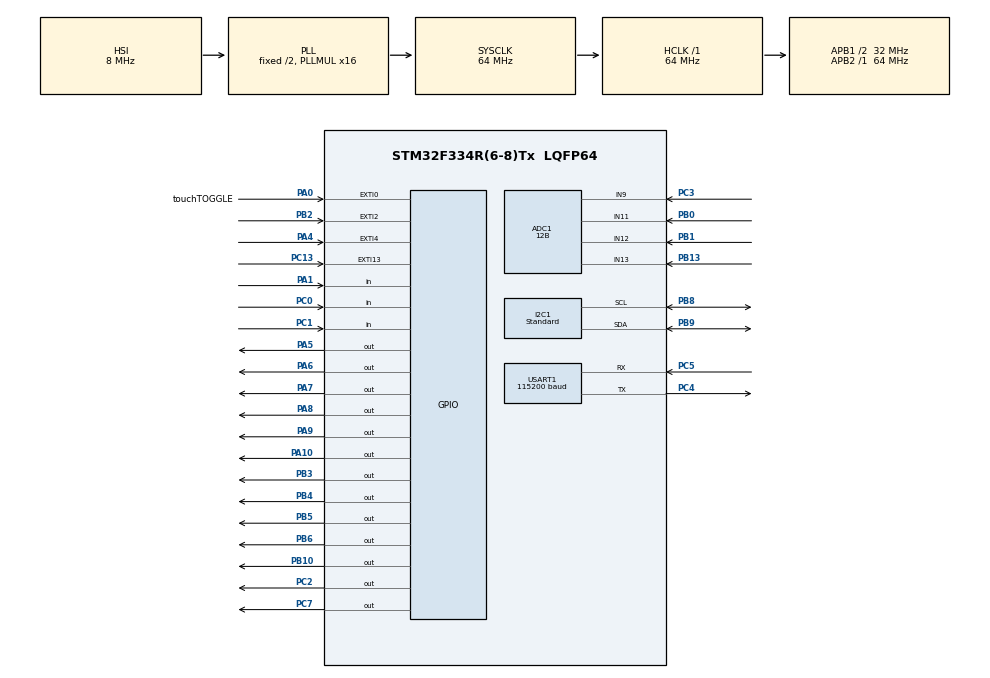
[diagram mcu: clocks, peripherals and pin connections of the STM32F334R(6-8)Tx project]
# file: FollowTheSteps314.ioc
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ADC1.Channel-40\#ChannelRegularConversion=ADC_CHANNEL_13
ADC1.Channel-41\#ChannelRegularConversion=ADC_CHANNEL_12
ADC1.Channel-42\#ChannelRegularConversion=ADC_CHANNEL_9
ADC1.Channel-44\#ChannelRegularConversion=ADC_CHANNEL_11
ADC1.ClockPrescaler=ADC_CLOCK_ASYNC_DIV1
ADC1.ContinuousConvMode=DISABLE
ADC1.DMAContinuousRequests=DISABLE
ADC1.DataAlign=ADC_DATAALIGN_RIGHT
ADC1.DiscontinuousConvMode=DISABLE
ADC1.EOCSelection=ADC_EOC_SINGLE_CONV
ADC1.EnableAnalogWatchDog1=false
ADC1.EnableAnalogWatchDog2=false
ADC1.EnableAnalogWatchDog3=false
ADC1.EnableInjectedConversion=ENABLE
ADC1.EnableRegularConversion=ENABLE
ADC1.ExternalTrigConv=ADC_SOFTWARE_START
ADC1.ExternalTrigConvEdge=ADC_EXTERNALTRIGCONVEDGE_NONE
ADC1.InjNumberOfConversion=0
ADC1.LowPowerAutoWait=DISABLE
ADC1.NbrOfConversion=4
ADC1.NbrOfConversionFlag=1
ADC1.Offset-40\#ChannelRegularConversion=0
ADC1.Offset-41\#ChannelRegularConversion=0
ADC1.Offset-42\#ChannelRegularConversion=0
ADC1.Offset-44\#ChannelRegularConversion=0
ADC1.OffsetNumber-40\#ChannelRegularConversion=ADC_OFFSET_NONE
ADC1.OffsetNumber-41\#ChannelRegularConversion=ADC_OFFSET_NONE
ADC1.OffsetNumber-42\#ChannelRegularConversion=ADC_OFFSET_NONE
ADC1.OffsetNumber-44\#ChannelRegularConversion=ADC_OFFSET_NONE
ADC1.Overrun=ADC_OVR_DATA_OVERWRITTEN
ADC1.Rank-40\#ChannelRegularConversion=1
ADC1.Rank-41\#ChannelRegularConversion=2
ADC1.Rank-42\#ChannelRegularConversion=3
ADC1.Rank-44\#ChannelRegularConversion=4
ADC1.Resolution=ADC_RESOLUTION_12B
ADC1.SamplingTime-40\#ChannelRegularConversion=ADC_SAMPLETIME_61CYCLES_5
ADC1.SamplingTime-41\#ChannelRegularConversion=ADC_SAMPLETIME_61CYCLES_5
ADC1.SamplingTime-42\#ChannelRegularConversion=ADC_SAMPLETIME_61CYCLES_5
ADC1.SamplingTime-44\#ChannelRegularConversion=ADC_SAMPLETIME_61CYCLES_5
ADC1.ScanConvMode=ADC_SCAN_ENABLE
ADC1.SubFamily=STM32F334x8
ADC1.master=1
Dma.ADC1.0.Direction=DMA_PERIPH_TO_MEMORY
Dma.ADC1.0.Instance=DMA1_Channel1
Dma.ADC1.0.MemDataAlignment=DMA_MDATAALIGN_HALFWORD
Dma.ADC1.0.MemInc=DMA_MINC_ENABLE
Dma.ADC1.0.Mode=DMA_CIRCULAR
Dma.ADC1.0.PeriphDataAlignment=DMA_PDATAALIGN_HALFWORD
Dma.ADC1.0.PeriphInc=DMA_PINC_DISABLE
Dma.ADC1.0.Priority=DMA_PRIORITY_MEDIUM
Dma.Request0=ADC1
I2C1.I2C_Speed_Mode=I2C_Standard
Mcu.Family=STM32F3
Mcu.Name=STM32F334R(6-8)Tx
Mcu.Package=LQFP64
NVIC.DMA1_Channel1_IRQn=true\:0\:0\:false\:false\:true\:false
NVIC.EXTI0_IRQn=true\:0\:0\:false\:false\:true\:true
NVIC.EXTI15_10_IRQn=true\:0\:0\:false\:false\:true\:true
NVIC.EXTI2_TSC_IRQn=true\:0\:0\:false\:false\:true\:true
NVIC.EXTI4_IRQn=true\:0\:0\:false\:false\:true\:true
NVIC.PriorityGroup=NVIC_PRIORITYGROUP_0
NVIC.TIM2_IRQn=true\:0\:0\:false\:false\:true\:true
NVIC.USART1_IRQn=true\:0\:0\:false\:false\:true\:true
PA0.GPIO_Label=touchTOGGLE
PA0.GPIO_ModeDefaultEXTI=GPIO_MODE_IT_FALLING
PA0.Signal=GPXTI0
PA1.GPIO_PuPd=GPIO_PULLUP
PA1.Signal=GPIO_Input
PA10.Signal=GPIO_Output
PA13.Signal=SYS_JTMS-SWDIO
PA14.Signal=SYS_JTCK-SWCLK
PA4.GPIO_ModeDefaultEXTI=GPIO_MODE_IT_FALLING
PA4.Signal=GPXTI4
PA5.GPIO_ModeDefaultOutputPP=GPIO_MODE_OUTPUT_PP
PA5.GPIO_PuPd=GPIO_NOPULL
PA5.GPIO_Speed=GPIO_SPEED_FREQ_LOW
PA5.PinState=GPIO_PIN_RESET
PA5.Signal=GPIO_Output
PA6.GPIO_ModeDefaultOutputPP=GPIO_MODE_OUTPUT_PP
PA6.GPIO_PuPd=GPIO_NOPULL
PA6.GPIO_Speed=GPIO_SPEED_FREQ_LOW
PA6.PinState=GPIO_PIN_RESET
PA6.Signal=GPIO_Output
PA7.GPIO_ModeDefaultOutputPP=GPIO_MODE_OUTPUT_PP
PA7.GPIO_PuPd=GPIO_NOPULL
PA7.GPIO_Speed=GPIO_SPEED_FREQ_LOW
PA7.PinState=GPIO_PIN_RESET
PA7.Signal=GPIO_Output
PA8.GPIO_ModeDefaultOutputPP=GPIO_MODE_OUTPUT_PP
PA8.GPIO_PuPd=GPIO_NOPULL
PA8.GPIO_Speed=GPIO_SPEED_FREQ_LOW
PA8.PinState=GPIO_PIN_RESET
PA8.Signal=GPIO_Output
PA9.GPIO_ModeDefaultOutputPP=GPIO_MODE_OUTPUT_PP
PA9.GPIO_PuPd=GPIO_NOPULL
PA9.GPIO_Speed=GPIO_SPEED_FREQ_LOW
PA9.PinState=GPIO_PIN_RESET
PA9.Signal=GPIO_Output
PB0.Mode=IN11-Single-Ended
PB0.Signal=ADC1_IN11
PB1.Mode=IN12-Single-Ended
PB1.Signal=ADC1_IN12
PB10.GPIO_ModeDefaultOutputPP=GPIO_MODE_OUTPUT_PP
PB10.GPIO_PuPd=GPIO_NOPULL
PB10.GPIO_Speed=GPIO_SPEED_FREQ_LOW
PB10.PinState=GPIO_PIN_RESET
PB10.Signal=GPIO_Output
PB13.Mode=IN13-Single-Ended
PB13.Signal=ADC1_IN13
PB2.GPIO_ModeDefaultEXTI=GPIO_MODE_IT_RISING
PB2.GPIO_PuPd=GPIO_NOPULL
PB2.Signal=GPXTI2
PB3.GPIO_ModeDefaultOutputPP=GPIO_MODE_OUTPUT_PP
PB3.GPIO_PuPd=GPIO_NOPULL
PB3.GPIO_Speed=GPIO_SPEED_FREQ_LOW
PB3.PinState=GPIO_PIN_RESET
PB3.Signal=GPIO_Output
PB4.GPIO_ModeDefaultOutputPP=GPIO_MODE_OUTPUT_PP
PB4.GPIO_PuPd=GPIO_NOPULL
PB4.GPIO_Speed=GPIO_SPEED_FREQ_LOW
PB4.PinState=GPIO_PIN_RESET
PB4.Signal=GPIO_Output
PB5.GPIO_ModeDefaultOutputPP=GPIO_MODE_OUTPUT_PP
PB5.GPIO_PuPd=GPIO_NOPULL
PB5.GPIO_Speed=GPIO_SPEED_FREQ_LOW
PB5.PinState=GPIO_PIN_RESET
PB5.Signal=GPIO_Output
PB6.GPIO_FM6=__NULL
PB6.GPIO_ModeDefaultOutputPP=GPIO_MODE_OUTPUT_PP
PB6.GPIO_PuPd=GPIO_NOPULL
PB6.GPIO_Speed=GPIO_SPEED_FREQ_LOW
PB6.PinState=GPIO_PIN_RESET
PB6.Signal=GPIO_Output
PB8.Mode=I2C
PB8.Signal=I2C1_SCL
PB9.Mode=I2C
PB9.Signal=I2C1_SDA
PC0.GPIO_Mode=GPIO_MODE_INPUT
PC0.GPIO_PuPd=GPIO_NOPULL
PC0.Signal=GPIO_Input
PC1.GPIO_Mode=GPIO_MODE_INPUT
PC1.GPIO_PuPd=GPIO_NOPULL
PC1.Signal=GPIO_Input
PC13.GPIO_ModeDefaultEXTI=GPIO_MODE_IT_RISING
PC13.GPIO_PuPd=GPIO_NOPULL
PC13.Signal=GPXTI13
PC14\ /\ OSC32_IN.Signal=RCC_OSC32_IN
PC15\ /\ OSC32_OUT.Signal=RCC_OSC32_OUT
PC2.Signal=GPIO_Output
PC3.Signal=ADCx_IN9
PC4.Mode=Asynchronous
PC4.Signal=USART1_TX
PC5.Mode=Asynchronous
PC5.Signal=USART1_RX
PC7.GPIO_ModeDefaultOutputPP=GPIO_MODE_OUTPUT_PP
PC7.GPIO_PuPd=GPIO_NOPULL
PC7.GPIO_Speed=GPIO_SPEED_FREQ_LOW
PC7.PinState=GPIO_PIN_RESET
PC7.Signal=GPIO_Output
PF0\ /\ OSC_IN.Mode=HSE-External-Oscillator
PF0\ /\ OSC_IN.Signal=RCC_OSC_IN
PF1\ /\ OSC_OUT.Mode=HSE-External-Oscillator
PF1\ /\ OSC_OUT.Signal=RCC_OSC_OUT
ProjectManager.HeapSize=0x200
ProjectManager.StackSize=0x400
ProjectManager.TargetToolchain=TrueSTUDIO
RCC.AHBFreq_Value=64000000
RCC.APB1CLKDivider=RCC_HCLK_DIV2
RCC.APB1Freq_Value=32000000
RCC.APB1TimFreq_Value=64000000
RCC.APB2Freq_Value=64000000
RCC.APB2TimFreq_Value=64000000
RCC.CortexFreq_Value=64000000
RCC.FLatency-AdvancedSettings=FLASH_LATENCY_2
RCC.HCLKFreq_Value=64000000
RCC.HSE_VALUE=8000000
RCC.HSI_VALUE=8000000
RCC.LSE_VALUE=32768
RCC.PLLMUL=RCC_PLL_MUL16
RCC.RTCClockSelection=RCC_RTCCLKSOURCE_HSE_DIV32
RCC.SYSCLKFreq_VALUE=64000000
RCC.SYSCLKSourceVirtual=RCC_SYSCLKSOURCE_PLLCLK
RTC.AsynchPrediv=124
RTC.Date=16
RTC.Format=RTC_FORMAT_BIN
RTC.Month=RTC_MONTH_MAY
RTC.SynchPrediv=1999
RTC.WeekDay=RTC_WEEKDAY_WEDNESDAY
RTC.Year=18
SH.ADCx_IN9.0=ADC1_IN9,IN9-Single-Ended
TIM2.Period=2048
TIM2.Prescaler=64
USART1.BaudRate=115200
USART1.VirtualMode-Asynchronous=VM_ASYNC
USART1.WordLength=WORDLENGTH_8B
VP_RTC_VS_RTC_Activate.Mode=RTC_Enabled
VP_RTC_VS_RTC_Calendar.Mode=RTC_Calendar
VP_TIM2_VS_ClockSourceINT.Mode=Internal
board=NUCLEO-F334R8

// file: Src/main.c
/**
 ******************************************************************************
 * @file           : main.c
 * @brief          : Main program body
 ******************************************************************************
 ** This notice applies to any and all portions of this file
 * that are not between comment pairs USER CODE BEGIN and
 * USER CODE END. Other portions of this file, whether
 * inserted by the user or by software development tools
 * are owned by their respective copyright owners.
 *
 * COPYRIGHT(c) 2018 STMicroelectronics
 *
 * Redistribution and use in source and binary forms, with or without modification,
 * are permitted provided that the following conditions are met:
 *   1. Redistributions of source code must retain the above copyright notice,
 *      this list of conditions and the following disclaimer.
 *   2. Redistributions in binary form must reproduce the above copyright notice,
 *      this list of conditions and the following disclaimer in the documentation
 *      and/or other materials provided with the distribution.
 *   3. Neither the name of STMicroelectronics nor the names of its contributors
 *      may be used to endorse or promote products derived from this software
 *      without specific prior written permission.
 *
 * THIS SOFTWARE IS PROVIDED BY THE COPYRIGHT HOLDERS AND CONTRIBUTORS "AS IS"
 * AND ANY EXPRESS OR IMPLIED WARRANTIES, INCLUDING, BUT NOT LIMITED TO, THE
 * IMPLIED WARRANTIES OF MERCHANTABILITY AND FITNESS FOR A PARTICULAR PURPOSE ARE
 * DISCLAIMED. IN NO EVENT SHALL THE COPYRIGHT HOLDER OR CONTRIBUTORS BE LIABLE
 * FOR ANY DIRECT, INDIRECT, INCIDENTAL, SPECIAL, EXEMPLARY, OR CONSEQUENTIAL
 * DAMAGES (INCLUDING, BUT NOT LIMITED TO, PROCUREMENT OF SUBSTITUTE GOODS OR
 * SERVICES; LOSS OF USE, DATA, OR PROFITS; OR BUSINESS INTERRUPTION) HOWEVER
 * CAUSED AND ON ANY THEORY OF LIABILITY, WHETHER IN CONTRACT, STRICT LIABILITY,
 * OR TORT (INCLUDING NEGLIGENCE OR OTHERWISE) ARISING IN ANY WAY OUT OF THE USE
 * OF THIS SOFTWARE, EVEN IF ADVISED OF THE POSSIBILITY OF SUCH DAMAGE.
 *
 ******************************************************************************
 */
#include "main.h"
#include "stm32f3xx_hal.h"

/* USER CODE BEGIN Includes */
#include "uart.h"
#include "SevSeg.h"
#include "adc.h"
#include "GPIO_input.h"
#include "proxSenseI2C.h"

/* USER CODE END Includes */

ADC_HandleTypeDef hadc1;
DMA_HandleTypeDef hdma_adc1;

I2C_HandleTypeDef hi2c1;

RTC_HandleTypeDef hrtc;

TIM_HandleTypeDef htim2;

UART_HandleTypeDef huart1;

/* USER CODE BEGIN PV */
/* Private variables ---------------------------------------------------------*/
int16_t temp_setpoint;
int16_t valveState;
int16_t heaterState;
int16_t heatingScheduleState;
int16_t loggingState;
int it_count;
RTC_TimeTypeDef rtcTime;
RTC_DateTypeDef rtcDate;
uint32_t rtcTimeTotal;

/* USER CODE END PV */

void SystemClock_Config(void);
static void MX_GPIO_Init(void);
static void MX_DMA_Init(void);
static void MX_USART1_UART_Init(void);
static void MX_TIM2_Init(void);
static void MX_ADC1_Init(void);
static void MX_I2C1_Init(void);
static void MX_RTC_Init(void);

/* USER CODE BEGIN PFP */
/* Private function prototypes -----------------------------------------------*/

/* USER CODE END PFP */

/* USER CODE BEGIN 0 */

void mainInit()
{
	temp_setpoint = 60;
	valveState = 0;
	heaterState = 0;
	heatingScheduleState = 0;
	it_count = 0;
	rtcTimeTotal = 0;
	loggingState = 0;
	HAL_Delay(200);

}

/* USER CODE END 0 */

int main(void)
{

	/* MCU Configuration----------------------------------------------------------*/

	/* Reset of all peripherals, Initializes the Flash interface and the Systick. */
	HAL_Init();

	/* Configure the system clock */
	SystemClock_Config();

	/* Initialize all configured peripherals */
	MX_GPIO_Init();
	MX_DMA_Init();
	MX_USART1_UART_Init();
	MX_TIM2_Init();
	MX_ADC1_Init();
	MX_I2C1_Init();
	MX_RTC_Init();
	/* USER CODE BEGIN 2 */

	mainInit();
	uartInit();
	SevSegInit();
	adcInit();
	proxSenseI2CInit();
	HAL_TIM_Base_Start_IT(&htim2);

	/* USER CODE END 2 */

	/* Infinite loop */
	while (1)
	{

	}

}

void SystemClock_Config(void)
{

	RCC_OscInitTypeDef RCC_OscInitStruct;
	RCC_ClkInitTypeDef RCC_ClkInitStruct;
	RCC_PeriphCLKInitTypeDef PeriphClkInit;

	/**Initializes the CPU, AHB and APB busses clocks
	 */
	RCC_OscInitStruct.OscillatorType = RCC_OSCILLATORTYPE_HSI|RCC_OSCILLATORTYPE_HSE;
	RCC_OscInitStruct.HSEState = RCC_HSE_ON;
	RCC_OscInitStruct.HSIState = RCC_HSI_ON;
	RCC_OscInitStruct.HSICalibrationValue = 16;
	RCC_OscInitStruct.PLL.PLLState = RCC_PLL_ON;
	RCC_OscInitStruct.PLL.PLLSource = RCC_PLLSOURCE_HSI;
	RCC_OscInitStruct.PLL.PLLMUL = RCC_PLL_MUL16;
	if (HAL_RCC_OscConfig(&RCC_OscInitStruct) != HAL_OK)
	{
		_Error_Handler(__FILE__, __LINE__);
	}

	/**Initializes the CPU, AHB and APB busses clocks
	 */
	RCC_ClkInitStruct.ClockType = RCC_CLOCKTYPE_HCLK|RCC_CLOCKTYPE_SYSCLK
			|RCC_CLOCKTYPE_PCLK1|RCC_CLOCKTYPE_PCLK2;
	RCC_ClkInitStruct.SYSCLKSource = RCC_SYSCLKSOURCE_PLLCLK;
	RCC_ClkInitStruct.AHBCLKDivider = RCC_SYSCLK_DIV1;
	RCC_ClkInitStruct.APB1CLKDivider = RCC_HCLK_DIV2;
	RCC_ClkInitStruct.APB2CLKDivider = RCC_HCLK_DIV1;

	if (HAL_RCC_ClockConfig(&RCC_ClkInitStruct, FLASH_LATENCY_2) != HAL_OK)
	{
		_Error_Handler(__FILE__, __LINE__);
	}

	PeriphClkInit.PeriphClockSelection = RCC_PERIPHCLK_USART1|RCC_PERIPHCLK_I2C1
			|RCC_PERIPHCLK_RTC|RCC_PERIPHCLK_ADC12;
	PeriphClkInit.Usart1ClockSelection = RCC_USART1CLKSOURCE_PCLK1;
	PeriphClkInit.Adc12ClockSelection = RCC_ADC12PLLCLK_DIV1;
	PeriphClkInit.I2c1ClockSelection = RCC_I2C1CLKSOURCE_HSI;
	PeriphClkInit.RTCClockSelection = RCC_RTCCLKSOURCE_HSE_DIV32;
	if (HAL_RCCEx_PeriphCLKConfig(&PeriphClkInit) != HAL_OK)
	{
		_Error_Handler(__FILE__, __LINE__);
	}

	/**Configure the Systick interrupt time
	 */
	HAL_SYSTICK_Config(HAL_RCC_GetHCLKFreq()/1000);

	/**Configure the Systick
	 */
	HAL_SYSTICK_CLKSourceConfig(SYSTICK_CLKSOURCE_HCLK);

	/* SysTick_IRQn interrupt configuration */
	HAL_NVIC_SetPriority(SysTick_IRQn, 0, 0);
}

/* ADC1 init function */
static void MX_ADC1_Init(void)
{

	ADC_MultiModeTypeDef multimode;
	ADC_ChannelConfTypeDef sConfig;

	/**Common config
	 */
	hadc1.Instance = ADC1;
	hadc1.Init.ClockPrescaler = ADC_CLOCK_ASYNC_DIV1;
	hadc1.Init.Resolution = ADC_RESOLUTION_12B;
	hadc1.Init.ScanConvMode = ADC_SCAN_ENABLE;
	hadc1.Init.ContinuousConvMode = DISABLE;
	hadc1.Init.DiscontinuousConvMode = DISABLE;
	hadc1.Init.ExternalTrigConvEdge = ADC_EXTERNALTRIGCONVEDGE_NONE;
	hadc1.Init.ExternalTrigConv = ADC_SOFTWARE_START;
	hadc1.Init.DataAlign = ADC_DATAALIGN_RIGHT;
	hadc1.Init.NbrOfConversion = 4;
	hadc1.Init.DMAContinuousRequests = DISABLE;
	hadc1.Init.EOCSelection = ADC_EOC_SINGLE_CONV;
	hadc1.Init.LowPowerAutoWait = DISABLE;
	hadc1.Init.Overrun = ADC_OVR_DATA_OVERWRITTEN;
	if (HAL_ADC_Init(&hadc1) != HAL_OK)
	{
		_Error_Handler(__FILE__, __LINE__);
	}

	/**Configure the ADC multi-mode
	 */
	multimode.Mode = ADC_MODE_INDEPENDENT;
	if (HAL_ADCEx_MultiModeConfigChannel(&hadc1, &multimode) != HAL_OK)
	{
		_Error_Handler(__FILE__, __LINE__);
	}

	/**Configure Regular Channel
	 */
	sConfig.Channel = ADC_CHANNEL_13;
	sConfig.Rank = ADC_REGULAR_RANK_1;
	sConfig.SingleDiff = ADC_SINGLE_ENDED;
	sConfig.SamplingTime = ADC_SAMPLETIME_61CYCLES_5;
	sConfig.OffsetNumber = ADC_OFFSET_NONE;
	sConfig.Offset = 0;
	if (HAL_ADC_ConfigChannel(&hadc1, &sConfig) != HAL_OK)
	{
		_Error_Handler(__FILE__, __LINE__);
	}

	/**Configure Regular Channel
	 */
	sConfig.Channel = ADC_CHANNEL_12;
	sConfig.Rank = ADC_REGULAR_RANK_2;
	if (HAL_ADC_ConfigChannel(&hadc1, &sConfig) != HAL_OK)
	{
		_Error_Handler(__FILE__, __LINE__);
	}

	/**Configure Regular Channel
	 */
	sConfig.Channel = ADC_CHANNEL_9;
	sConfig.Rank = ADC_REGULAR_RANK_3;
	if (HAL_ADC_ConfigChannel(&hadc1, &sConfig) != HAL_OK)
	{
		_Error_Handler(__FILE__, __LINE__);
	}

	/**Configure Regular Channel
	 */
	sConfig.Channel = ADC_CHANNEL_11;
	sConfig.Rank = ADC_REGULAR_RANK_4;
	if (HAL_ADC_ConfigChannel(&hadc1, &sConfig) != HAL_OK)
	{
		_Error_Handler(__FILE__, __LINE__);
	}

}

/* I2C1 init function */
static void MX_I2C1_Init(void)
{

	hi2c1.Instance = I2C1;
	hi2c1.Init.Timing = 0x2000090E;
	hi2c1.Init.OwnAddress1 = 0;
	hi2c1.Init.AddressingMode = I2C_ADDRESSINGMODE_7BIT;
	hi2c1.Init.DualAddressMode = I2C_DUALADDRESS_DISABLE;
	hi2c1.Init.OwnAddress2 = 0;
	hi2c1.Init.OwnAddress2Masks = I2C_OA2_NOMASK;
	hi2c1.Init.GeneralCallMode = I2C_GENERALCALL_DISABLE;
	hi2c1.Init.NoStretchMode = I2C_NOSTRETCH_DISABLE;
	if (HAL_I2C_Init(&hi2c1) != HAL_OK)
	{
		_Error_Handler(__FILE__, __LINE__);
	}

	/**Configure Analogue filter
	 */
	if (HAL_I2CEx_ConfigAnalogFilter(&hi2c1, I2C_ANALOGFILTER_ENABLE) != HAL_OK)
	{
		_Error_Handler(__FILE__, __LINE__);
	}

	/**Configure Digital filter
	 */
	if (HAL_I2CEx_ConfigDigitalFilter(&hi2c1, 0) != HAL_OK)
	{
		_Error_Handler(__FILE__, __LINE__);
	}

}

/* RTC init function */
static void MX_RTC_Init(void)
{

	RTC_TimeTypeDef sTime;
	RTC_DateTypeDef sDate;

	/**Initialize RTC Only
	 */
	hrtc.Instance = RTC;
	if(HAL_RTCEx_BKUPRead(&hrtc, RTC_BKP_DR0) != 0x32F2){
		hrtc.Init.HourFormat = RTC_HOURFORMAT_24;
		hrtc.Init.AsynchPrediv = 124;
		hrtc.Init.SynchPrediv = 1999;
		hrtc.Init.OutPut = RTC_OUTPUT_DISABLE;
		hrtc.Init.OutPutPolarity = RTC_OUTPUT_POLARITY_HIGH;
		hrtc.Init.OutPutType = RTC_OUTPUT_TYPE_OPENDRAIN;
		if (HAL_RTC_Init(&hrtc) != HAL_OK)
		{
			_Error_Handler(__FILE__, __LINE__);
		}

		/**Initialize RTC and set the Time and Date
		 */
		sTime.Hours = 0;
		sTime.Minutes = 0;
		sTime.Seconds = 0;
		sTime.DayLightSaving = RTC_DAYLIGHTSAVING_NONE;
		sTime.StoreOperation = RTC_STOREOPERATION_RESET;
		if (HAL_RTC_SetTime(&hrtc, &sTime, RTC_FORMAT_BIN) != HAL_OK)
		{
			_Error_Handler(__FILE__, __LINE__);
		}

		sDate.WeekDay = RTC_WEEKDAY_WEDNESDAY;
		sDate.Month = RTC_MONTH_MAY;
		sDate.Date = 16;
		sDate.Year = 18;

		if (HAL_RTC_SetDate(&hrtc, &sDate, RTC_FORMAT_BIN) != HAL_OK)
		{
			_Error_Handler(__FILE__, __LINE__);
		}

		HAL_RTCEx_BKUPWrite(&hrtc,RTC_BKP_DR0,0x32F2);
	}

}

/* TIM2 init function */
static void MX_TIM2_Init(void)
{

	TIM_ClockConfigTypeDef sClockSourceConfig;
	TIM_MasterConfigTypeDef sMasterConfig;

	htim2.Instance = TIM2;
	htim2.Init.Prescaler = 64;
	htim2.Init.CounterMode = TIM_COUNTERMODE_UP;
	htim2.Init.Period = 2048;
	htim2.Init.ClockDivision = TIM_CLOCKDIVISION_DIV1;
	htim2.Init.AutoReloadPreload = TIM_AUTORELOAD_PRELOAD_DISABLE;
	if (HAL_TIM_Base_Init(&htim2) != HAL_OK)
	{
		_Error_Handler(__FILE__, __LINE__);
	}

	sClockSourceConfig.ClockSource = TIM_CLOCKSOURCE_INTERNAL;
	if (HAL_TIM_ConfigClockSource(&htim2, &sClockSourceConfig) != HAL_OK)
	{
		_Error_Handler(__FILE__, __LINE__);
	}

	sMasterConfig.MasterOutputTrigger = TIM_TRGO_RESET;
	sMasterConfig.MasterSlaveMode = TIM_MASTERSLAVEMODE_DISABLE;
	if (HAL_TIMEx_MasterConfigSynchronization(&htim2, &sMasterConfig) != HAL_OK)
	{
		_Error_Handler(__FILE__, __LINE__);
	}

}

/* USART1 init function */
static void MX_USART1_UART_Init(void)
{

	huart1.Instance = USART1;
	huart1.Init.BaudRate = 115200;
	huart1.Init.WordLength = UART_WORDLENGTH_8B;
	huart1.Init.StopBits = UART_STOPBITS_1;
	huart1.Init.Parity = UART_PARITY_NONE;
	huart1.Init.Mode = UART_MODE_TX_RX;
	huart1.Init.HwFlowCtl = UART_HWCONTROL_NONE;
	huart1.Init.OverSampling = UART_OVERSAMPLING_16;
	huart1.Init.OneBitSampling = UART_ONE_BIT_SAMPLE_DISABLE;
	huart1.AdvancedInit.AdvFeatureInit = UART_ADVFEATURE_NO_INIT;
	if (HAL_UART_Init(&huart1) != HAL_OK)
	{
		_Error_Handler(__FILE__, __LINE__);
	}

}

static void MX_DMA_Init(void)
{
	/* DMA controller clock enable */
	__HAL_RCC_DMA1_CLK_ENABLE();

	/* DMA interrupt init */
	/* DMA1_Channel1_IRQn interrupt configuration */
	HAL_NVIC_SetPriority(DMA1_Channel1_IRQn, 0, 0);
	HAL_NVIC_EnableIRQ(DMA1_Channel1_IRQn);

}

/** Configure pins as
 * Analog
 * Input
 * Output
 * EVENT_OUT
 * EXTI
 */
static void MX_GPIO_Init(void)
{

	GPIO_InitTypeDef GPIO_InitStruct;

	/* GPIO Ports Clock Enable */
	__HAL_RCC_GPIOC_CLK_ENABLE();
	__HAL_RCC_GPIOF_CLK_ENABLE();
	__HAL_RCC_GPIOA_CLK_ENABLE();
	__HAL_RCC_GPIOB_CLK_ENABLE();

	/*Configure GPIO pin Output Level */
	HAL_GPIO_WritePin(GPIOC, GPIO_PIN_2|GPIO_PIN_7, GPIO_PIN_RESET);

	/*Configure GPIO pin Output Level */
	HAL_GPIO_WritePin(GPIOA, GPIO_PIN_5|GPIO_PIN_6|GPIO_PIN_7|GPIO_PIN_8
			|GPIO_PIN_9|GPIO_PIN_10, GPIO_PIN_RESET);

	/*Configure GPIO pin Output Level */
	HAL_GPIO_WritePin(GPIOB, GPIO_PIN_10|GPIO_PIN_3|GPIO_PIN_4|GPIO_PIN_5
			|GPIO_PIN_6, GPIO_PIN_RESET);

	/*Configure GPIO pin : PC13 */
	GPIO_InitStruct.Pin = GPIO_PIN_13;
	GPIO_InitStruct.Mode = GPIO_MODE_IT_RISING;
	GPIO_InitStruct.Pull = GPIO_NOPULL;
	HAL_GPIO_Init(GPIOC, &GPIO_InitStruct);

	/*Configure GPIO pins : PC0 PC1 */
	GPIO_InitStruct.Pin = GPIO_PIN_0|GPIO_PIN_1;
	GPIO_InitStruct.Mode = GPIO_MODE_INPUT;
	GPIO_InitStruct.Pull = GPIO_NOPULL;
	HAL_GPIO_Init(GPIOC, &GPIO_InitStruct);

	/*Configure GPIO pins : PC2 PC7 */
	GPIO_InitStruct.Pin = GPIO_PIN_2|GPIO_PIN_7;
	GPIO_InitStruct.Mode = GPIO_MODE_OUTPUT_PP;
	GPIO_InitStruct.Pull = GPIO_NOPULL;
	GPIO_InitStruct.Speed = GPIO_SPEED_FREQ_LOW;
	HAL_GPIO_Init(GPIOC, &GPIO_InitStruct);

	/*Configure GPIO pins : touchTOGGLE_Pin PA4 */
	GPIO_InitStruct.Pin = touchTOGGLE_Pin|GPIO_PIN_4;
	GPIO_InitStruct.Mode = GPIO_MODE_IT_FALLING;
	GPIO_InitStruct.Pull = GPIO_NOPULL;
	HAL_GPIO_Init(GPIOA, &GPIO_InitStruct);

	/*Configure GPIO pin : PA1 */
	GPIO_InitStruct.Pin = GPIO_PIN_1;
	GPIO_InitStruct.Mode = GPIO_MODE_INPUT;
	GPIO_InitStruct.Pull = GPIO_PULLUP;
	HAL_GPIO_Init(GPIOA, &GPIO_InitStruct);

	/*Configure GPIO pins : PA5 PA6 PA7 PA8
                           PA9 PA10 */
	GPIO_InitStruct.Pin = GPIO_PIN_5|GPIO_PIN_6|GPIO_PIN_7|GPIO_PIN_8
			|GPIO_PIN_9|GPIO_PIN_10;
	GPIO_InitStruct.Mode = GPIO_MODE_OUTPUT_PP;
	GPIO_InitStruct.Pull = GPIO_NOPULL;
	GPIO_InitStruct.Speed = GPIO_SPEED_FREQ_LOW;
	HAL_GPIO_Init(GPIOA, &GPIO_InitStruct);

	/*Configure GPIO pin : PB2 */
	GPIO_InitStruct.Pin = GPIO_PIN_2;
	GPIO_InitStruct.Mode = GPIO_MODE_IT_RISING;
	GPIO_InitStruct.Pull = GPIO_NOPULL;
	HAL_GPIO_Init(GPIOB, &GPIO_InitStruct);

	/*Configure GPIO pins : PB10 PB3 PB4 PB5
                           PB6 */
	GPIO_InitStruct.Pin = GPIO_PIN_10|GPIO_PIN_3|GPIO_PIN_4|GPIO_PIN_5
			|GPIO_PIN_6;
	GPIO_InitStruct.Mode = GPIO_MODE_OUTPUT_PP;
	GPIO_InitStruct.Pull = GPIO_NOPULL;
	GPIO_InitStruct.Speed = GPIO_SPEED_FREQ_LOW;
	HAL_GPIO_Init(GPIOB, &GPIO_InitStruct);

	/* EXTI interrupt init*/
	HAL_NVIC_SetPriority(EXTI0_IRQn, 0, 0);
	HAL_NVIC_EnableIRQ(EXTI0_IRQn);

	HAL_NVIC_SetPriority(EXTI2_TSC_IRQn, 0, 0);
	HAL_NVIC_EnableIRQ(EXTI2_TSC_IRQn);

	HAL_NVIC_SetPriority(EXTI4_IRQn, 0, 0);
	HAL_NVIC_EnableIRQ(EXTI4_IRQn);

	HAL_NVIC_SetPriority(EXTI15_10_IRQn, 0, 0);
	HAL_NVIC_EnableIRQ(EXTI15_10_IRQn);

}

void _Error_Handler(char *file, int line)
{
	while(1)
	{
	}
}

/************************ (C) COPYRIGHT STMicroelectronics *****END OF FILE****/
